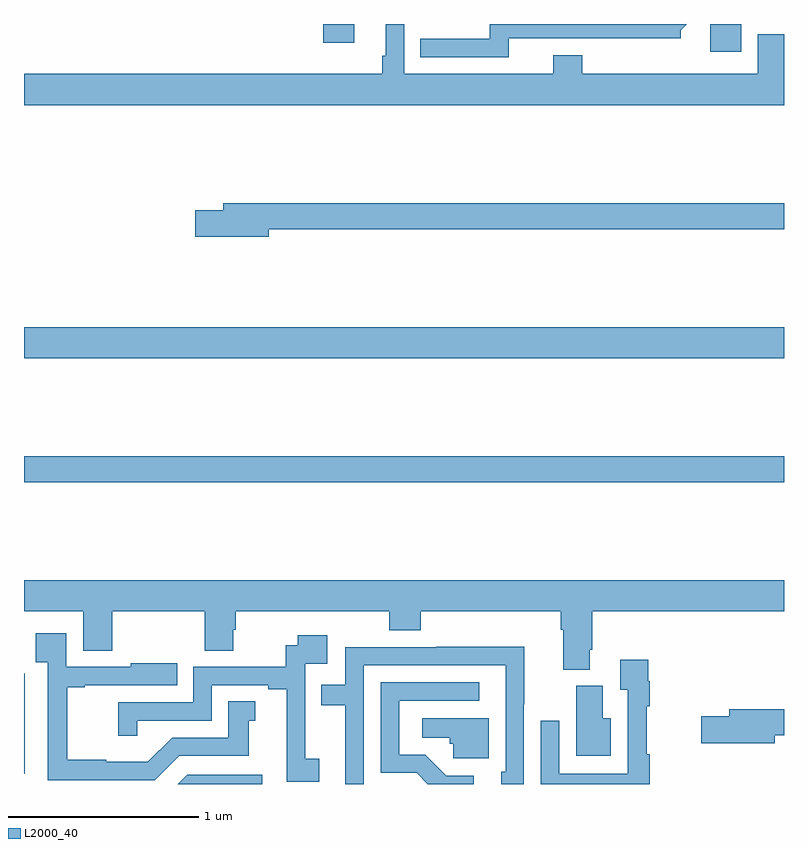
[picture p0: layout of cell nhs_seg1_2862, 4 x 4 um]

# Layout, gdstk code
import gdstk
lib = gdstk.Library(unit=1e-6, precision=1e-09)
def R(c, l, rs):  # rectangles x0, y0, x1, y1
    for r in rs: c.add(gdstk.rectangle(r[:2], r[2:], *l))
def P(c, l, *ps):  # polygons
    for p in ps: c.add(gdstk.Polygon(p, *l))
L2000_40 = (2000, 40)

nhs_seg1_2862 = lib.new_cell('nhs_seg1_2862')
R(nhs_seg1_2862, L2000_40, [(267,509.788,271,509.924), (267,510.44,271,510.604), (270.613,512.052,270.774,512.199), (268.574,512.1,268.738,512.199)])
P(nhs_seg1_2862, L2000_40, [(269.786,512.035),(269.786,511.936),(269.001,511.936),(269.001,512.199),(268.904,512.199),(268.904,512.032),(268.885,512.032),(268.885,511.936),(267,511.936),(267,511.772),(271,511.772),(271,512.144),(270.863,512.144),(270.863,511.936),(269.939,511.936),(269.939,512.035)],
  [(269.55,512.124),(270.022,512.124),(270.022,512.123),(270.456,512.123),(270.456,512.167),(270.488,512.199),(269.45,512.199),(269.45,512.121),(269.086,512.121),(269.086,512.025),(269.55,512.025)],
  [(268.288,511.12),(271,511.12),(271,511.256),(268.049,511.256),(268.049,511.22),(267.9,511.22),(267.9,511.078),(268.288,511.078)],
  [(267,509.108),(267.311,509.108),(267.311,508.9),(267.464,508.9),(267.464,509.108),(267.95,509.108),(267.95,508.9),(268.102,508.9),(268.102,509.01),(268.115,509.01),(268.115,509.108),(268.922,509.108),(268.922,509.009),(269.087,509.009),(269.087,509.108),(269.825,509.108),(269.825,509.012),(269.837,509.012),(269.837,508.801),(269.977,508.801),(269.977,508.906),(269.99,508.906),(269.99,509.108),(271,509.108),(271,509.272),(267,509.272)],
  [(267.816,508.347),(268.183,508.347),(268.183,508.531),(268.216,508.531),(268.216,508.634),(268.076,508.634),(268.076,508.443),(267.78,508.443),(267.652,508.315),(267.434,508.315),(267.434,508.327),(267.227,508.327),(267.227,508.707),(267.319,508.707),(267.319,508.719),(267.806,508.719),(267.806,508.834),(267.563,508.834),(267.563,508.815),(267.222,508.815),(267.222,508.993),(267.061,508.993),(267.061,508.841),(267.126,508.841),(267.126,508.218),(267.687,508.218)],
  [(268.555,508.332),(268.481,508.332),(268.481,508.529),(268.479,508.529),(268.479,508.833),(268.597,508.833),(268.597,508.981),(268.441,508.981),(268.441,508.929),(268.378,508.929),(268.378,508.815),(267.891,508.815),(267.891,508.629),(267.496,508.629),(267.496,508.452),(267.597,508.452),(267.597,508.533),(267.987,508.533),(267.987,508.719),(268.286,508.719),(268.286,508.699),(268.382,508.699),(268.382,508.321),(268.384,508.321),(268.384,508.21),(268.555,508.21)],
  [(268.788,508.824),(269.535,508.824),(269.535,508.263),(269.513,508.263),(269.513,508.199),(269.631,508.199),(269.631,508.618),(269.633,508.618),(269.633,508.922),(269.17,508.922),(269.17,508.92),(268.692,508.92),(268.692,508.722),(268.564,508.722),(268.564,508.614),(268.691,508.614),(268.691,508.199),(268.788,508.199)],
  [(270.293,508.355),(270.278,508.355),(270.278,508.607),(270.293,508.607),(270.293,508.739),(270.286,508.739),(270.286,508.852),(270.137,508.852),(270.137,508.696),(270.177,508.696),(270.177,508.254),(269.817,508.254),(269.817,508.531),(269.721,508.531),(269.721,508.199),(270.293,508.199)],
  [(267.003,508.778),(267,508.781),(267,508.254),(267.003,508.254)],
  [(269.368,508.242),(269.223,508.242),(269.112,508.353),(268.974,508.353),(268.974,508.638),(269.395,508.638),(269.395,508.734),(268.878,508.734),(268.878,508.257),(269.067,508.257),(269.126,508.199),(269.368,508.199)],
  [(270.088,508.546),(270.046,508.546),(270.046,508.716),(269.906,508.716),(269.906,508.349),(270.088,508.349)],
  [(270.952,508.456),(271,508.456),(271,508.592),(270.713,508.592),(270.713,508.556),(270.564,508.556),(270.564,508.414),(270.952,508.414)],
  [(269.446,508.546),(269.097,508.546),(269.097,508.442),(269.24,508.442),(269.24,508.41),(269.259,508.41),(269.259,508.335),(269.446,508.335)],
  [(268.254,508.248),(267.858,508.248),(267.809,508.199),(268.254,508.199)])

lib.write_gds('nhs_seg1_2862.gds')
